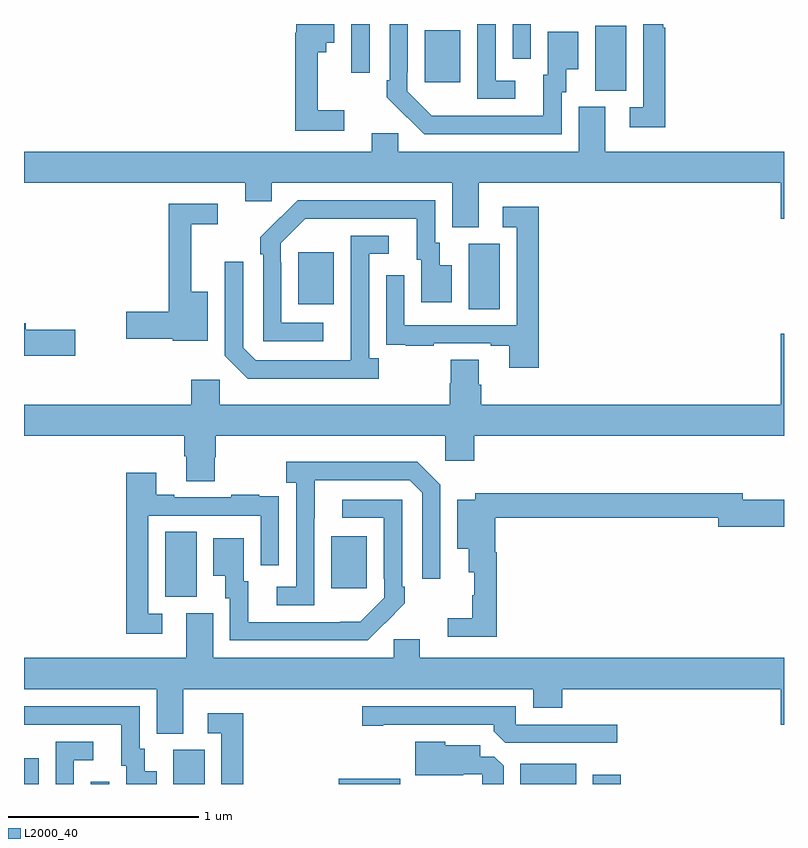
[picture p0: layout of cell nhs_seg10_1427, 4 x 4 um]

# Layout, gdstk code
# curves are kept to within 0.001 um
import gdstk
lib = gdstk.Library(unit=1e-6, precision=1e-09)
def R(c, l, rs):  # rectangles x0, y0, x1, y1
    for r in rs: c.add(gdstk.rectangle(r[:2], r[2:], *l))
def P(c, l, *ps):  # polygons
    for p in ps: c.add(gdstk.Polygon(p, *l))
L2000_40 = (2000, 40)

nhs_seg10_1427 = lib.new_cell('nhs_seg10_1427')
R(nhs_seg10_1427, L2000_40, [(185,1282.5,185.077,1282.636), (185.352,1282.5,185.448,1282.513), (185.786,1282.5,185.95,1282.68), (186.656,1282.5,186.979,1282.528), (187.613,1282.5,187.906,1282.606), (187.994,1282.5,188.141,1282.549), (185.744,1283.485,185.908,1283.828), (186.617,1283.529,186.805,1283.803), (187.34,1285,187.504,1285.344), (186.443,1285.025,186.631,1285.3), (188.006,1286.149,188.17,1286.492), (187.109,1286.193,187.297,1286.467), (186.723,1286.244,186.819,1286.5), (187.572,1286.316,187.668,1286.5)])
P(nhs_seg10_1427, L2000_40, [(187.585,1286.202),(187.482,1286.202),(187.482,1286.5),(187.386,1286.5),(187.386,1286.106),(187.585,1286.106)],
  [(188.375,1286.48),(188.364,1286.48),(188.364,1286.5),(188.259,1286.5),(188.259,1286.061),(188.187,1286.061),(188.187,1285.956),(188.375,1285.956)],
  [(186.685,1286.047),(186.545,1286.047),(186.545,1286.351),(186.592,1286.351),(186.592,1286.402),(186.634,1286.402),(186.634,1286.5),(186.434,1286.5),(186.434,1286.455),(186.427,1286.455),(186.427,1285.938),(186.685,1285.938)],
  [(187.83,1286.142),(187.855,1286.142),(187.855,1286.261),(187.918,1286.261),(187.918,1286.458),(187.757,1286.458),(187.757,1286.232),(187.733,1286.232),(187.733,1286.016),(187.146,1286.017),(187.017,1286.145),(187.017,1286.245),(187.02,1286.245),(187.02,1286.5),(186.924,1286.5),(186.924,1286.203),(186.909,1286.203),(186.909,1286.115),(187.106,1285.92),(187.83,1285.92)],
  [(187.393,1285.664),(188.984,1285.664),(188.984,1285.476),(189,1285.476),(189,1285.828),(188.059,1285.828),(188.059,1286.064),(187.919,1286.064),(187.919,1285.828),(186.969,1285.828),(186.969,1285.926),(186.83,1285.926),(186.83,1285.828),(185,1285.828),(185,1285.664),(186.164,1285.664),(186.164,1285.566),(186.303,1285.566),(186.303,1285.664),(187.253,1285.664),(187.253,1285.429),(187.393,1285.429)],
  [(186.574,1284.927),(186.354,1284.927),(186.354,1285.247),(186.351,1285.247),(186.351,1285.347),(186.48,1285.476),(187.067,1285.476),(187.067,1285.26),(187.091,1285.26),(187.091,1285.035),(187.252,1285.035),(187.252,1285.231),(187.189,1285.231),(187.189,1285.35),(187.164,1285.35),(187.164,1285.572),(186.44,1285.572),(186.243,1285.377),(186.243,1285.289),(186.258,1285.289),(186.258,1284.831),(186.574,1284.831)],
  [(185.968,1285.09),(185.879,1285.09),(185.879,1285.446),(186.019,1285.446),(186.019,1285.554),(185.761,1285.554),(185.761,1284.986),(185.538,1284.986),(185.538,1284.844),(185.784,1284.844),(185.784,1284.833),(185.968,1284.833)],
  [(187.709,1285.537),(187.521,1285.537),(187.521,1285.431),(187.593,1285.431),(187.593,1284.915),(187.002,1284.915),(187.002,1285.177),(186.906,1285.177),(186.906,1284.922),(186.907,1284.922),(186.907,1284.813),(187.009,1284.813),(187.009,1284.807),(187.157,1284.807),(187.157,1284.819),(187.457,1284.819),(187.457,1284.807),(187.553,1284.807),(187.553,1284.69),(187.709,1284.69)],
  [(186.868,1284.742),(186.816,1284.742),(186.816,1285.29),(186.919,1285.29),(186.919,1285.386),(186.72,1285.386),(186.719,1284.729),(186.219,1284.729),(186.153,1284.795),(186.153,1285.249),(186.057,1285.249),(186.057,1284.753),(186.178,1284.632),(186.868,1284.632)],
  [(185.269,1284.89),(185.008,1284.89),(185.008,1284.926),(185,1284.926),(185,1284.755),(185.269,1284.755)],
  [(186.003,1284.219),(186.008,1284.219),(186.008,1284.332),(187.218,1284.332),(187.218,1284.201),(187.37,1284.201),(187.37,1284.332),(189,1284.332),(189,1284.871),(188.984,1284.871),(188.984,1284.496),(187.406,1284.496),(187.406,1284.602),(187.393,1284.602),(187.393,1284.734),(187.246,1284.734),(187.246,1284.609),(187.241,1284.609),(187.241,1284.496),(186.03,1284.496),(186.03,1284.628),(185.879,1284.628),(185.879,1284.496),(185,1284.496),(185,1284.332),(185.843,1284.332),(185.843,1284.226),(185.855,1284.226),(185.855,1284.094),(186.003,1284.094)],
  [(186.528,1283.899),(186.529,1284.099),(187.029,1284.099),(187.095,1284.033),(187.095,1283.58),(187.191,1283.58),(187.191,1284.075),(187.07,1284.196),(186.381,1284.196),(186.381,1284.086),(186.432,1284.086),(186.432,1283.538),(186.33,1283.538),(186.33,1283.442),(186.528,1283.442)],
  [(185.728,1283.397),(185.655,1283.397),(185.655,1283.913),(186.246,1283.913),(186.246,1283.652),(186.342,1283.652),(186.342,1283.906),(186.341,1283.906),(186.341,1284.015),(186.239,1284.015),(186.239,1284.022),(186.091,1284.022),(186.091,1284.009),(185.791,1284.009),(185.791,1284.022),(185.695,1284.022),(185.695,1284.139),(185.539,1284.139),(185.539,1283.292),(185.728,1283.292)],
  [(187.487,1283.719),(187.481,1283.719),(187.481,1283.902),(188.654,1283.902),(188.654,1283.855),(189,1283.855),(189,1283.997),(188.782,1283.997),(188.782,1284.031),(187.374,1284.031),(187.374,1283.995),(187.28,1283.995),(187.28,1283.738),(187.34,1283.738),(187.34,1283.615),(187.37,1283.615),(187.37,1283.493),(187.359,1283.493),(187.359,1283.373),(187.23,1283.373),(187.23,1283.274),(187.487,1283.274)],
  [(186.899,1283.347),(186.9,1283.346),(187.005,1283.451),(187.005,1283.539),(186.99,1283.539),(186.99,1283.997),(186.675,1283.997),(186.675,1283.901),(186.894,1283.901),(186.894,1283.581),(186.897,1283.581),(186.897,1283.481),(186.769,1283.353),(186.181,1283.352),(186.181,1283.568),(186.157,1283.568),(186.157,1283.794),(185.996,1283.794),(185.996,1283.597),(186.059,1283.597),(186.059,1283.478),(186.084,1283.478),(186.084,1283.256),(186.808,1283.256)],
  [(185.839,1283),(187.679,1283),(187.679,1282.901),(187.832,1282.901),(187.832,1283),(188.984,1283),(188.984,1282.812),(189,1282.812),(189,1283.164),(187.084,1283.164),(187.084,1283.262),(186.945,1283.262),(186.945,1283.164),(185.995,1283.164),(185.995,1283.4),(185.855,1283.4),(185.855,1283.164),(185,1283.164),(185,1283),(185.699,1283),(185.699,1282.765),(185.839,1282.765)],
  [(185.698,1282.567),(185.635,1282.567),(185.635,1282.686),(185.61,1282.686),(185.61,1282.908),(185,1282.908),(185,1282.812),(185.513,1282.812),(185.513,1282.596),(185.537,1282.596),(185.537,1282.5),(185.698,1282.5)],
  [(188.122,1282.812),(187.587,1282.812),(187.587,1282.908),(186.78,1282.908),(186.78,1282.807),(186.892,1282.807),(186.892,1282.812),(187.472,1282.812),(187.472,1282.778),(187.533,1282.716),(188.122,1282.716)],
  [(186.155,1282.873),(185.967,1282.873),(185.967,1282.767),(186.039,1282.767),(186.039,1282.5),(186.155,1282.5)],
  [(187.525,1282.595),(187.476,1282.644),(187.402,1282.644),(187.402,1282.705),(187.218,1282.705),(187.218,1282.723),(187.058,1282.723),(187.058,1282.547),(187.313,1282.547),(187.313,1282.551),(187.413,1282.551),(187.413,1282.5),(187.525,1282.5)],
  [(185.262,1282.626),(185.365,1282.626),(185.365,1282.722),(185.166,1282.722),(185.166,1282.5),(185.262,1282.5)])

lib.write_gds('nhs_seg10_1427.gds')
